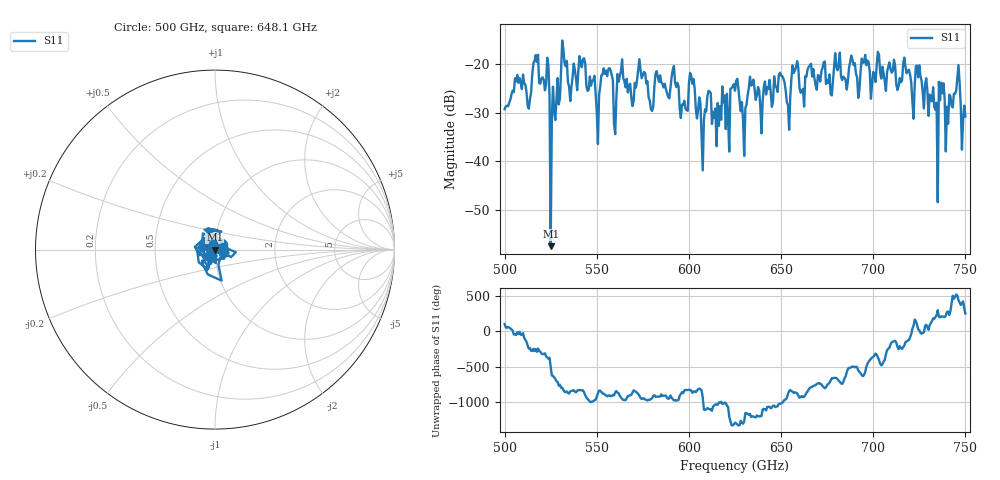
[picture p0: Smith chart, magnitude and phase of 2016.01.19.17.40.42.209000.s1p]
!Created with skrf (http://scikit-rf.org).
# GHz S RI R 50.0
!freq ReS11 ImS11
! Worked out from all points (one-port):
!   401 points, 500 GHz to 750 GHz, reference 50 ohm
!   lowest |S11| = -57.5 dB at 525 GHz (marker M1), VSWR 1.00, Z = 49.9 - j0.0839 ohm
!   |S11| at or under -10 dB: start of sweep to end of sweep
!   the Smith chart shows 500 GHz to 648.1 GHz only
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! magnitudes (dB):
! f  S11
! 500 GHz  -29.3
! 513.1 GHz  -29.1
! 516.9 GHz  -18.1
! 523.1 GHz  -18.6
! 525 GHz  -57.5
! 526.2 GHz  -24.6
! 531.2 GHz  -15.1
! 541.9 GHz  -20.6
! 550.6 GHz  -36.4
! 556.2 GHz  -21.0
! 560.6 GHz  -27.0
! 562.5 GHz  -22.4
! 593.8 GHz  -23.8
! 601.9 GHz  -24.0
! 608.1 GHz  -31.4
! 610.6 GHz  -25.4
! 620.6 GHz  -26.1
! 625 GHz  -25.4
! 629.4 GHz  -31.5
! 633.8 GHz  -24.4
! 650 GHz  -22.3
! 653.8 GHz  -28.4
! 656.2 GHz  -20.2
! 687.5 GHz  -19.4
! 718.8 GHz  -21.3
! 733.8 GHz  -29.4
! 745.6 GHz  -22.7
! 750 GHz  -30.7
